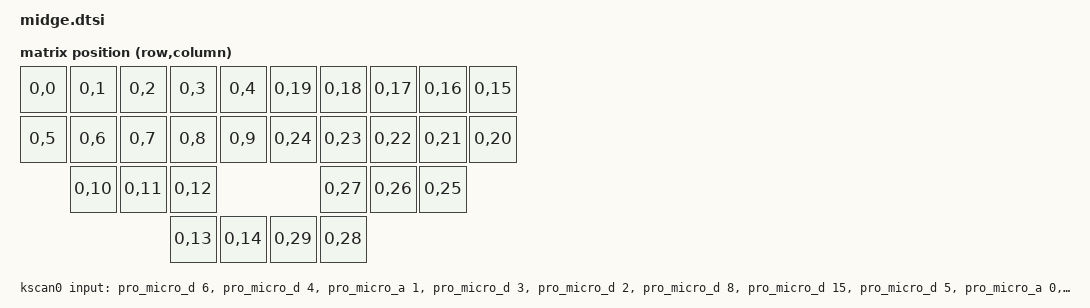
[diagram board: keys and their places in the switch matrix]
/*
 * Copyright (c) 2020 The ZMK Contributors
 *
 * SPDX-License-Identifier: MIT
 */

#include <dt-bindings/zmk/matrix_transform.h>

/ {

	chosen {
		zmk,kscan = &kscan0;
		zmk,matrix_transform = &default_transform;
	};

	default_transform: keymap_transform_0 {
		compatible = "zmk,matrix-transform";
		columns = <30>;
		rows = <1>;
		map = <
		RC(0,0)  RC(0,1)  RC(0,2)  RC(0,3)  RC(0,4)    RC(0,19) RC(0,18) RC(0,17) RC(0,16) RC(0,15)
		RC(0,5)  RC(0,6)  RC(0,7)  RC(0,8)  RC(0,9)    RC(0,24) RC(0,23) RC(0,22) RC(0,21) RC(0,20)
		         RC(0,10) RC(0,11) RC(0,12)                     RC(0,27) RC(0,26) RC(0,25)
		                           RC(0,13) RC(0,14)   RC(0,29) RC(0,28)
		>;
	};

	kscan0: kscan {
		compatible = "zmk,kscan-gpio-direct";
		label = "KSCAN";
		input-gpios
		// Pour Nice!Nano v2 (les broches ont été modifiées)
		= <&pro_micro_d  6 (GPIO_ACTIVE_LOW | GPIO_PULL_UP)>   // D6 - P0.08 sur Nice!Nano
		, <&pro_micro_d  4 (GPIO_ACTIVE_LOW | GPIO_PULL_UP)>   // D4 - P0.22 sur Nice!Nano
		, <&pro_micro_a  1 (GPIO_ACTIVE_LOW | GPIO_PULL_UP)>   // A1 - P0.24 sur Nice!Nano
		, <&pro_micro_d  3 (GPIO_ACTIVE_LOW | GPIO_PULL_UP)>   // D3 - P0.06 sur Nice!Nano
		, <&pro_micro_d  2 (GPIO_ACTIVE_LOW | GPIO_PULL_UP)>   // D2 - P0.08 sur Nice!Nano
		, <&pro_micro_d  8 (GPIO_ACTIVE_LOW | GPIO_PULL_UP)>   // D8 - P0.13 sur Nice!Nano
		, <&pro_micro_d 15 (GPIO_ACTIVE_LOW | GPIO_PULL_UP)>   // D15 - P0.24 sur Nice!Nano (F5 sur Pro Micro)
		, <&pro_micro_d  5 (GPIO_ACTIVE_LOW | GPIO_PULL_UP)>   // D5 - P0.17 sur Nice!Nano
		, <&pro_micro_a  0 (GPIO_ACTIVE_LOW | GPIO_PULL_UP)>   // A0 - P0.20 sur Nice!Nano
		, <&pro_micro_a  2 (GPIO_ACTIVE_LOW | GPIO_PULL_UP)>   // A2 - P0.11 sur Nice!Nano
		, <&pro_micro_d 16 (GPIO_ACTIVE_LOW | GPIO_PULL_UP)>   // D16 - P0.10 sur Nice!Nano (F6 sur Pro Micro)
		, <&pro_micro_d  7 (GPIO_ACTIVE_LOW | GPIO_PULL_UP)>   // D7 - P1.00 sur Nice!Nano
		, <&pro_micro_d 14  (GPIO_ACTIVE_LOW | GPIO_PULL_UP)>  // D14 - P1.11 sur Nice!Nano (F4 sur Pro Micro)
		, <&pro_micro_d 10 (GPIO_ACTIVE_LOW | GPIO_PULL_UP)>   // D10 - P0.09 sur Nice!Nano
		, <&pro_micro_d  9 (GPIO_ACTIVE_LOW | GPIO_PULL_UP)>   // D9 - P1.06 sur Nice!Nano
		;
	};

};
